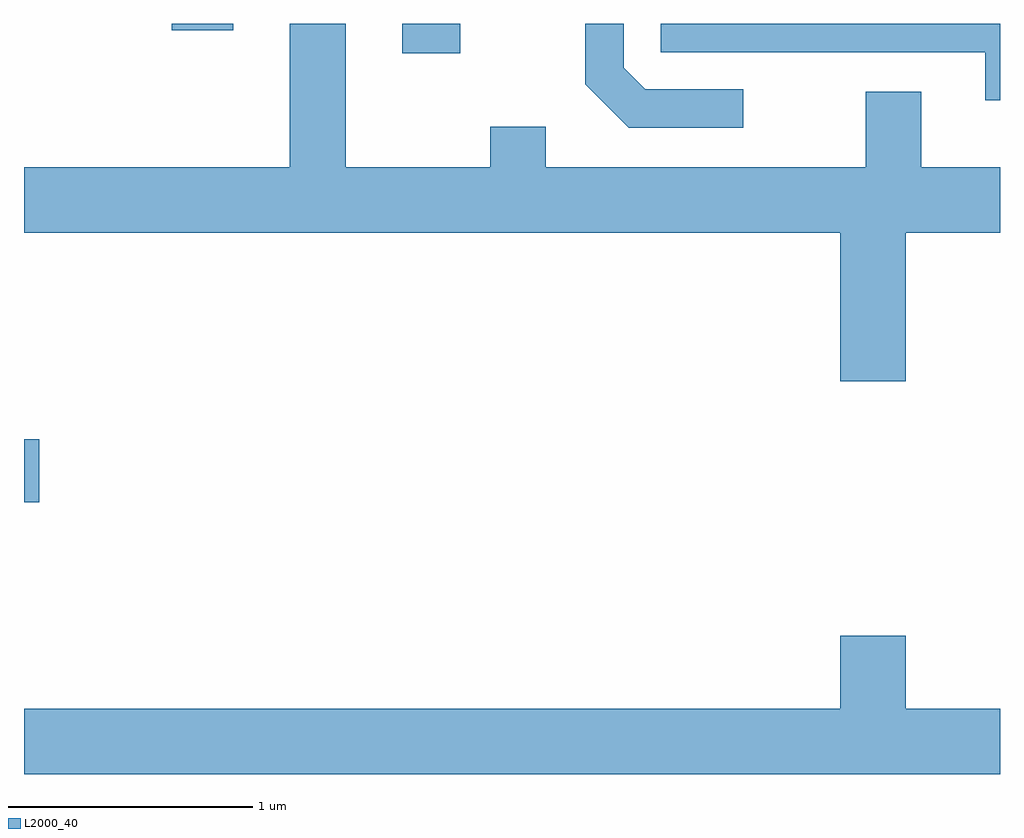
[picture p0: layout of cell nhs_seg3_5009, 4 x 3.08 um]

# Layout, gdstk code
import gdstk
lib = gdstk.Library(unit=1e-6, precision=1e-09)
def R(c, l, rs):  # rectangles x0, y0, x1, y1
    for r in rs: c.add(gdstk.rectangle(r[:2], r[2:], *l))
def P(c, l, *ps):  # polygons
    for p in ps: c.add(gdstk.Polygon(p, *l))
L2000_40 = (2000, 40)

nhs_seg3_5009 = lib.new_cell('nhs_seg3_5009')
R(nhs_seg3_5009, L2000_40, [(331.611,1215.931,331.674,1216.189), (333.161,1217.771,333.398,1217.892), (332.216,1217.866,332.469,1217.892)])
P(nhs_seg3_5009, L2000_40, [(335.224,1217.036),(335.611,1217.036),(335.611,1217.304),(335.289,1217.304),(335.289,1217.614),(335.061,1217.614),(335.061,1217.304),(333.749,1217.304),(333.749,1217.469),(333.521,1217.469),(333.521,1217.304),(332.929,1217.304),(332.929,1217.892),(332.701,1217.892),(332.701,1217.304),(331.611,1217.304),(331.611,1217.036),(334.956,1217.036),(334.956,1216.426),(335.224,1216.426)],
  [(335.611,1217.892),(334.221,1217.892),(334.221,1217.776),(335.551,1217.776),(335.551,1217.578),(335.611,1217.578)],
  [(334.558,1217.624),(334.157,1217.624),(334.069,1217.712),(334.069,1217.892),(333.911,1217.892),(333.911,1217.644),(334.089,1217.466),(334.558,1217.466)],
  [(335.611,1215.084),(335.224,1215.084),(335.224,1215.384),(334.956,1215.384),(334.956,1215.084),(331.611,1215.084),(331.611,1214.816),(335.611,1214.816)])

lib.write_gds('nhs_seg3_5009.gds')
